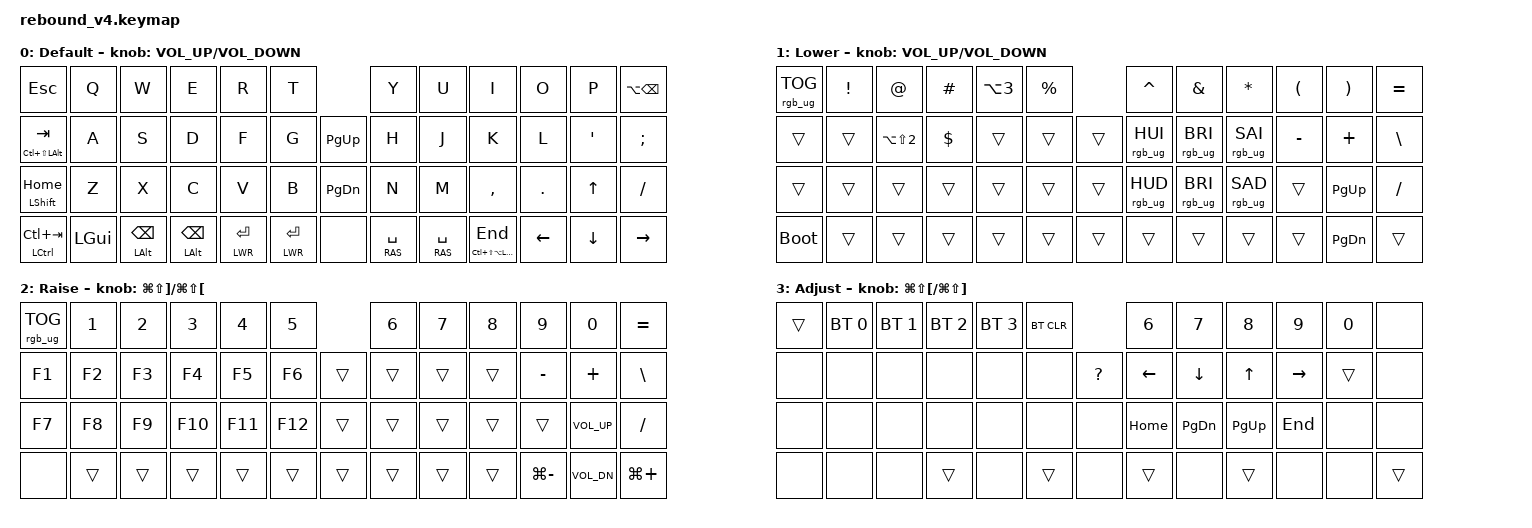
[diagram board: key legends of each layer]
/*
 * Copyright (c) 2020 The ZMK Contributors
 *
 * SPDX-License-Identifier: MIT
 */

#include <behaviors.dtsi>
#include <dt-bindings/zmk/bt.h>
#include <dt-bindings/zmk/keys.h>
#include <dt-bindings/zmk/rgb.h>

#define DEFAULT 0
#define LWR     1
#define RAS     2
#define ADJ     3

/ {
    combos {
    };
};

/ {
    conditional_layers {
        compatible = "zmk,conditional-layers";

        tri_layer {
            if-layers = <1 2>;
            then-layer = <3>;
        };
    };
};

/ {
    behaviors {
        ag_ht: ag_ht {
            compatible = "zmk,behavior-hold-tap";
            label = "AG_HT";
            bindings = <&gui>, <&kp>;

            #binding-cells = <2>;
            tapping-term-ms = <250>;
            flavor = "tap-preferred";
        };
    };

    macros {
        gui: gui {
            compatible = "zmk,behavior-macro-one-param";
            #binding-cells = <1>;
            bindings =
                <&macro_press>,
                <&kp LEFT_GUI>,
                <&macro_tap>,
                <&macro_param_1to1 &kp MACRO_PLACEHOLDER>,
                <&macro_release>,
                <&kp LEFT_GUI>;

            label = "GUI";
        };

        ag: ag {
            compatible = "zmk,behavior-macro-one-param";
            #binding-cells = <1>;
            bindings =
                <&macro_press>,
                <&macro_param_1to1 &macro_param_1to2 &ag_ht MACRO_PLACEHOLDER MACRO_PLACEHOLDER>,
                <&macro_pause_for_release>,
                <&macro_release>,
                <&macro_param_1to1 &macro_param_1to2 &ag_ht MACRO_PLACEHOLDER MACRO_PLACEHOLDER>;

            label = "AG";
        };
    };

    keymap {
        compatible = "zmk,keymap";

        default_layer {
            label = "Default";
            bindings = <
&kp ESC               &kp Q     &kp W          &kp E          &kp R          &kp T                     &kp Y          &kp U          &kp I                     &kp O     &kp P     &kp LA(BSPC)
&mt LC(LS(LALT)) TAB  &kp A     &kp S          &kp D          &kp F          &kp G          &kp PG_UP  &kp H          &kp J          &kp K                     &kp L     &kp SQT   &kp SEMI
&mt LSHIFT HOME       &kp Z     &kp X          &kp C          &kp V          &kp B          &kp PG_DN  &kp N          &kp M          &kp COMMA                 &kp DOT   &kp UP    &kp FSLH
&mt LCTRL LC(TAB)     &kp LGUI  &mt LALT BSPC  &mt LALT BSPC  &lt LWR ENTER  &lt LWR ENTER  &none      &lt RAS SPACE  &lt RAS SPACE  &mt LC(LS(LA(LGUI))) END  &kp LEFT  &kp DOWN  &kp RIGHT
            >;

            sensor-bindings = <&inc_dec_kp C_VOLUME_UP C_VOLUME_DOWN>;
        };

        lower_layer {
            label = "Lower";
            bindings = <
&rgb_ug RGB_TOG  &kp EXCL  &kp AT          &kp HASH    &kp LA(N3)  &kp PRCNT          &kp CARET        &kp AMPS         &kp ASTRK        &kp LPAR   &kp RPAR   &kp EQUAL
&trans           &trans    &kp LA(LS(N2))  &kp DOLLAR  &trans      &trans     &trans  &rgb_ug RGB_HUI  &rgb_ug RGB_BRI  &rgb_ug RGB_SAI  &kp MINUS  &kp PLUS   &kp BSLH
&trans           &trans    &trans          &trans      &trans      &trans     &trans  &rgb_ug RGB_HUD  &rgb_ug RGB_BRI  &rgb_ug RGB_SAD  &trans     &kp PG_UP  &kp FSLH
&bootloader      &trans    &trans          &trans      &trans      &trans     &trans  &trans           &trans           &trans           &trans     &kp PG_DN  &trans
            >;

            sensor-bindings = <&inc_dec_kp C_VOLUME_UP C_VOLUME_DOWN>;
        };

        raise_layer {
            label = "Raise";
            bindings = <
&rgb_ug RGB_TOG  &kp N1  &kp N2  &kp N3   &kp N4   &kp N5           &kp N6  &kp N7  &kp N8  &kp N9         &kp N0        &kp EQUAL
&kp F1           &kp F2  &kp F3  &kp F4   &kp F5   &kp F6   &trans  &trans  &trans  &trans  &kp MINUS      &kp PLUS      &kp BSLH
&kp F7           &kp F8  &kp F9  &kp F10  &kp F11  &kp F12  &trans  &trans  &trans  &trans  &trans         &kp C_VOL_UP  &kp FSLH
&none            &trans  &trans  &trans   &trans   &trans   &trans  &trans  &trans  &trans  &kp LG(MINUS)  &kp C_VOL_DN  &kp LG(PLUS)
            >;

            sensor-bindings = <&inc_dec_kp LG(LS(RBKT)) LG(LS(LBKT))>;
        };

        adjust_layer {
            label = "Adjust";
            bindings = <
&trans  &bt BT_SEL 0  &bt BT_SEL 1  &bt BT_SEL 2  &bt BT_SEL 3  &bt BT_CLR             &kp N6    &kp N7     &kp N8     &kp N9     &kp N0  &none
&none   &none         &none         &none         &none         &none       &kp QMARK  &kp LEFT  &kp DOWN   &kp UP     &kp RIGHT  &trans  &none
&none   &none         &none         &none         &none         &none       &none      &kp HOME  &kp PG_DN  &kp PG_UP  &kp END    &none   &none
&none   &none         &none         &trans        &none         &trans      &none      &trans    &none      &trans     &none      &none   &trans
            >;

            sensor-bindings = <&inc_dec_kp LG(LS(LBKT)) LG(LS(RBKT))>;
        };
    };
};
